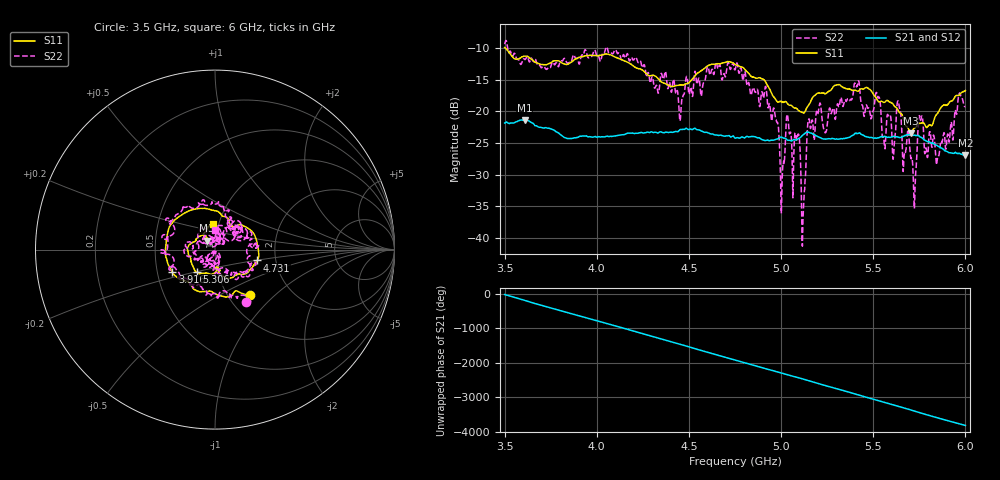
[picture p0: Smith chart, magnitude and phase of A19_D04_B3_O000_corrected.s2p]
! Created with skrf 1.9.0 (http://scikit-rf.org).
# Hz S RI R 50.0
!freq ReS11 ImS11 ReS21 ImS21 ReS12 ImS12 ReS22 ImS22
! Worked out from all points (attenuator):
!   1601 points, 3.5 GHz to 6 GHz, reference 50 ohm
!   highest |S21| = -21.38 dB at 3.609 GHz (marker M1); lowest = -27.0 dB at 6 GHz (marker M2)
!   lowest |S11| = -23.5 dB at 5.703 GHz (marker M3), VSWR 1.14, Z = 45.4 + j4.46 ohm
!   |S11| at or under -10 dB: 3.503 GHz to end of sweep
!   |S22| runs from -41.3 to -8.8 dB; largest |S21 - S12| = 0.0012
!   S11 on the Smith chart (normalised r, x): 3.5 GHz: 1.26, -0.71; 3.916 GHz: 0.60, -0.16; 4.731 GHz: 1.60, -0.21; 5.306 GHz: 0.79, -0.20; 6 GHz: 0.94, +0.28
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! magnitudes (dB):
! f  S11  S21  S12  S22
! 3.5 GHz  -9.9  -21.9  -21.8  -9.4
! 3.609 GHz  -11.3  -21.4  -21.4  -11.8
! 3.916 GHz  -11.4  -24.0  -23.9  -11.3
! 3.917 GHz  -11.4  -23.9  -23.9  -11.2
! 4.334 GHz  -14.9  -23.4  -23.3  -17.1
! 4.731 GHz  -12.3  -24.0  -24.0  -13.0
! 4.75 GHz  -12.6  -24.2  -24.1  -13.5
! 4.969 GHz  -18.1  -24.5  -24.4  -20.9
! 5.006 GHz  -18.5  -24.1  -24.1  -30.3
! 5.036 GHz  -18.8  -24.6  -24.5  -20.7
! 5.088 GHz  -19.6  -24.4  -24.4  -24.3
! 5.12 GHz  -20.2  -23.7  -23.6  -36.0
! 5.147 GHz  -19.1  -23.3  -23.3  -21.7
! 5.167 GHz  -18.0  -23.5  -23.4  -21.5
! 5.306 GHz  -15.8  -24.4  -24.3  -18.8
! 5.411 GHz  -16.8  -23.5  -23.5  -16.0
! 5.584 GHz  -18.5  -24.1  -24.0  -20.7
! 5.703 GHz  -23.5  -23.8  -23.7  -27.3
! 5.723 GHz  -22.6  -23.8  -23.7  -35.4
! 5.756 GHz  -21.9  -24.1  -24.0  -21.4
! 5.85 GHz  -20.3  -25.5  -25.4  -27.1
! 6 GHz  -16.7  -27.0  -26.9  -19.3
